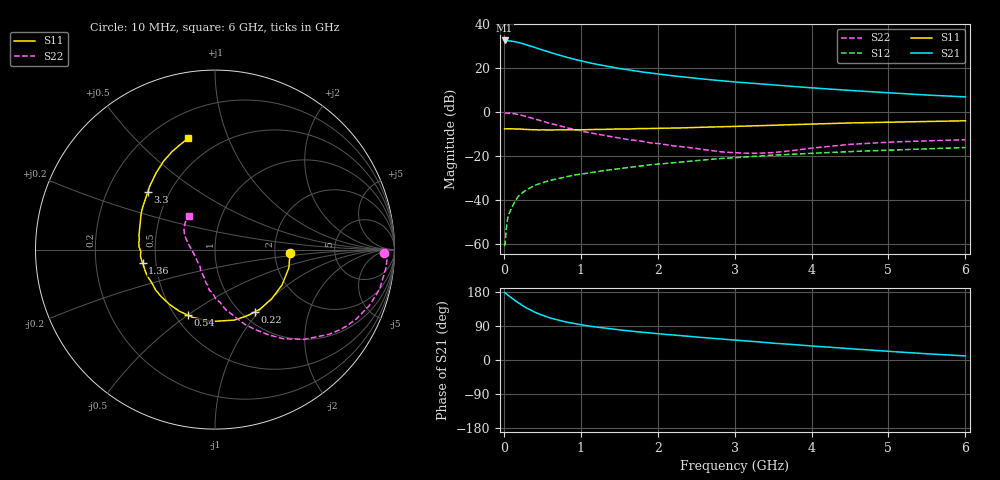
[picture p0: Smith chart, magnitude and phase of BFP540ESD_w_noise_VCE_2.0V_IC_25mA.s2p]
! Infineon Technologies  Discrete & RF Semiconductors
! BFP540ESD
! VCE =  2.0 V,  IC =  25 mA
! Common Emitter S-Parameters:  Nov 2015
# GHz  S  MA  R  50
!  f  S11  S21  S12  S22
! GHz  MAG  ANG  MAG  ANG  MAG  ANG  MAG  ANG
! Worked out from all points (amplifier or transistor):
!   210 points, 10 MHz to 6 GHz, reference 50 ohm
!   highest |S21| = 32.6 dB at 10 MHz (marker M1)
!   |S21| within 3 dB of that: start of sweep to 385.1 MHz
!   unconditionally stable (mu >= 1): start of sweep to 12.96 MHz; 1.975 GHz to end of sweep
!   at 185 MHz: K = 0.24, MSG = 35.1 dB, |S12| = -38.5 dB
!   at 1.52 GHz: K = 0.93, MSG = 22.7 dB, |S12| = -25.6 dB
!   at 6 GHz: K = 1.11, MAG = 9.5 dB, |S12| = -16.0 dB
!   lowest NFmin = 1.29 dB at 900 MHz
!   S11 on the Smith chart (normalised r, x): 10 MHz: 2.44, -0.11; 220 MHz: 1.14, -0.96; 540 MHz: 0.58, -0.50; 1.36 GHz: 0.42, -0.07; 3.3 GHz: 0.38, +0.32; 6 GHz: 0.35, +0.73
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0.01  0.4188 -2.5  42.83 178.0  0.0009 95.7  0.9408 -1.3
0.02  0.4183 -6.3  42.23 176.9  0.0012 96.1  0.9622 -1.9
0.05  0.424 -13.9  42.36 171.8  0.0039 80.9  0.9575 -6.3
0.1  0.4223 -27.9  41.53 163.8  0.0066 80.9  0.9435 -13.4
0.15  0.4183 -41.0  40.1 156.2  0.0097 79.0  0.9149 -19.9
0.22  0.4119 -57.5  37.31 146.6  0.0138 73.0  0.8604 -28.3
0.3  0.4072 -74.6  33.99 136.6  0.0174 69.9  0.7913 -36.6
0.4  0.4011 -92.6  29.75 126.3  0.0217 65.3  0.705 -45.2
0.5  0.3979 -108.0  26.12 117.9  0.0249 62.2  0.6257 -52.5
0.54  0.3952 -112.8  24.78 115.4  0.0262 61.7  0.5976 -54.6
0.6  0.3965 -120.1  22.86 111.1  0.0281 61.1  0.5571 -58.2
0.7  0.3967 -129.7  20.34 105.6  0.0307 60.2  0.5006 -63.1
0.8  0.3981 -138.8  18.08 100.7  0.0337 59.4  0.4513 -68.0
1.02  0.3986 -153.4  14.48 92.5  0.0396 58.7  0.3691 -75.9
1.36  0.4103 -169.6  10.95 82.9  0.0486 57.4  0.2845 -86.9
1.7  0.4232 178.0  8.735 75.2  0.0575 55.7  0.2305 -97.4
2.02  0.4315 168.9  7.326 69.1  0.0663 53.9  0.1931 -105.0
3.1  0.4806 143.7  4.732 51.1  0.0951 45.6  0.1178 -146.7
3.3  0.4926 139.6  4.437 48.0  0.1003 43.7  0.1169 -158.4
4.1  0.5443 126.0  3.49 35.6  0.1185 36.4  0.1587 164.5
5.1  0.5998 112.6  2.703 21.6  0.1392 27.3  0.2122 144.1
6  0.6382 103.5  2.233 10.6  0.1576 20.2  0.2368 128.2
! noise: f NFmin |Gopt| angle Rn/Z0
0.9  1.29  0.34  -137  0.12
1.8  1.44  0.36  -143  0.12
2.4  1.47  0.37  -133  0.13
3  1.58  0.39  -128  0.15
4  1.65  0.49  -105  0.26
5  1.76  0.57  -87  0.4
6  2.09  0.56  -87  0.63
